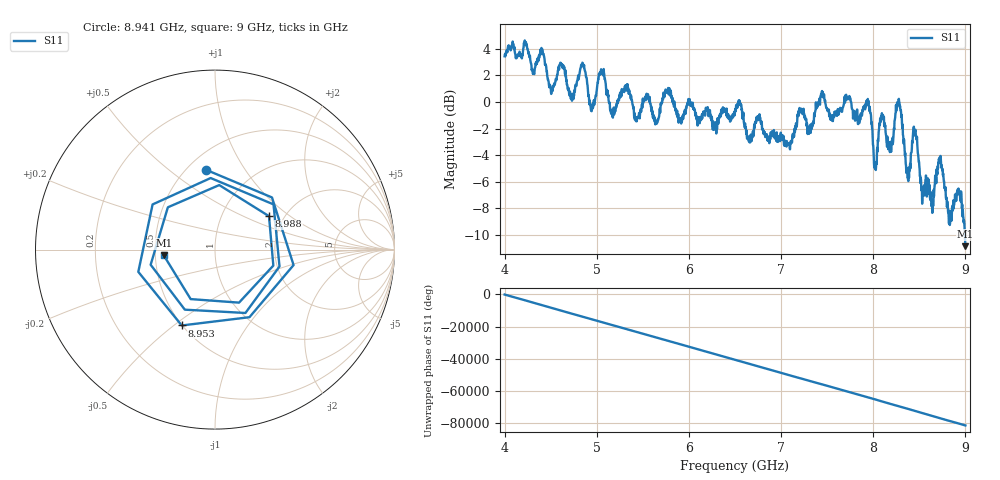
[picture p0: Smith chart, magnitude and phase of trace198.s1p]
! Created with skrf 1.8.0 (http://scikit-rf.org).
# Hz S RI R 50.0
!freq ReS11 ImS11
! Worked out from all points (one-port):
!   1601 points, 4 GHz to 9 GHz, reference 50 ohm
!   lowest |S11| = -10.8 dB at 9 GHz (marker M1), VSWR 1.81, Z = 27.7 - j1.92 ohm
!   |S11| at or under -10 dB: 8.995411 GHz to end of sweep
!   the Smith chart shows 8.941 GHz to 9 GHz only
!   S11 on the Smith chart (normalised r, x): 8.941 GHz: 0.62, +0.68; 8.953 GHz: 0.50, -0.53; 8.988 GHz: 1.67, +0.71; 9 GHz: 0.55, -0.04
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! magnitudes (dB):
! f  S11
! 4 GHz  3.4
! 4.509 GHz  0.7
! 4.625 GHz  2.8
! 4.725 GHz  0.3
! 4.844 GHz  3.0
! 4.941 GHz  -0.5
! 5.05 GHz  2.1
! 5.169 GHz  -1.1
! 5.25 GHz  0.5
! 5.875 GHz  -1.1
! 6.5 GHz  -0.7
! 7.125 GHz  -2.5
! 7.75 GHz  0.3
! 7.95 GHz  -0.2
! 8.022 GHz  -5.0
! 8.091 GHz  -1.1
! 8.188 GHz  -3.0
! 8.278 GHz  0.2
! 8.375 GHz  -5.7
! 8.453 GHz  -2.1
! 8.538 GHz  -7.0
! 8.638 GHz  -7.6
! 8.725 GHz  -4.5
! 8.825 GHz  -8.7
! 8.941 GHz  -7.0
! 8.953 GHz  -6.7
! 8.988 GHz  -9.0
! 9 GHz  -10.8
